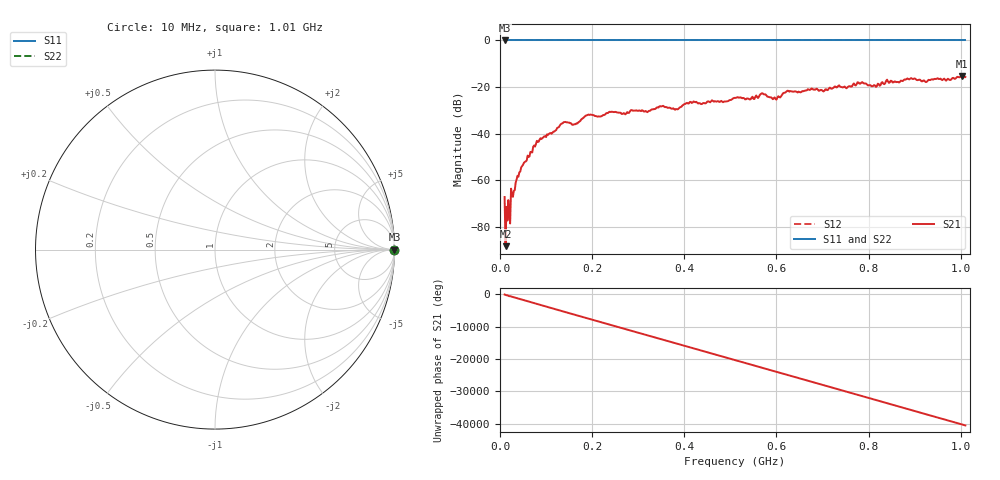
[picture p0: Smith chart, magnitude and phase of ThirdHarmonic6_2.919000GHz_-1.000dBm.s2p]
! 8/17/2025 8:07:10 AM
! C:\ANRITSUVNA\TEMP\TEMP.S2P
! CHANNEL.1
! TR.MEASUREMENT
! RAW.DATA
! RF.CORRECTION.OFF
! AVERAGING.OFF
! IF.BANDWIDTH: 5KHZ
! SWEEPTYPE:  FREQ.SWEEP(Linear)
! Reference Plane Port Info
! PORT:  PORT1  PORT2
! DISTANCE:  0  m  0  m
! TIME:  0  s  0  s
! PHASE.OFFSET:  0  deg.  0  deg.
! LOSS:  0  dB  0  dB
! REF.LOSS:  0  dB  0  dB
! REF.FREQ:  0  Hz  0  Hz
! Power Info
! POWER:  -20  dBm  -20  dBm
! EFF.POWER:  -20  dBm  -20  dBm
! SOURCE.ATTEN:  0  dB  0  dB
! TEST.ATTEN:  0  dB  0  dB
# GHZ S RI R 50.0
! FREQ.GHZ  S11RE  S11IM  S21RE  S21IM  S12RE  S12IM  S22RE  S22IM
!; PortSelection: Port_12
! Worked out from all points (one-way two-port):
!   501 points, 10 MHz to 1.01 GHz, reference 50 ohm
!   highest |S21| = -15.18 dB at 1.002 GHz (marker M1); lowest = -88.2 dB at 12 MHz (marker M2)
!   lowest |S11| = 0.0 dB at 10 MHz (marker M3)
!   |S11| at or under -10 dB: nowhere
!   |S22| runs from 0.0 to 0.0 dB; largest |S21 - S12| = 1.2
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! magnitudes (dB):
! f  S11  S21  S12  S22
! 10 MHz  0.0  -67.1  0.0  0.0
! 12 MHz  0.0  -88.2  0.0  0.0
! 18 MHz  0.0  -68.5  0.0  0.0
! 38 MHz  0.0  -58.0  0.0  0.0
! 76 MHz  0.0  -45.5  0.0  0.0
! 136 MHz  0.0  -35.5  0.0  0.0
! 160 MHz  0.0  -36.1  0.0  0.0
! 178 MHz  0.0  -33.6  0.0  0.0
! 192 MHz  0.0  -31.8  0.0  0.0
! 322 MHz  0.0  -30.4  0.0  0.0
! 344 MHz  0.0  -28.7  0.0  0.0
! 382 MHz  0.0  -29.4  0.0  0.0
! 416 MHz  0.0  -26.8  0.0  0.0
! 510 MHz  0.0  -24.6  0.0  0.0
! 570 MHz  0.0  -22.7  0.0  0.0
! 596 MHz  0.0  -24.4  0.0  0.0
! 622 MHz  0.0  -21.8  0.0  0.0
! 678 MHz  0.0  -20.7  0.0  0.0
! 814 MHz  0.0  -19.4  0.0  0.0
! 844 MHz  0.0  -18.2  0.0  0.0
! 1.002 GHz  0.0  -15.2  0.0  0.0
! 1.01 GHz  0.0  -15.7  0.0  0.0
